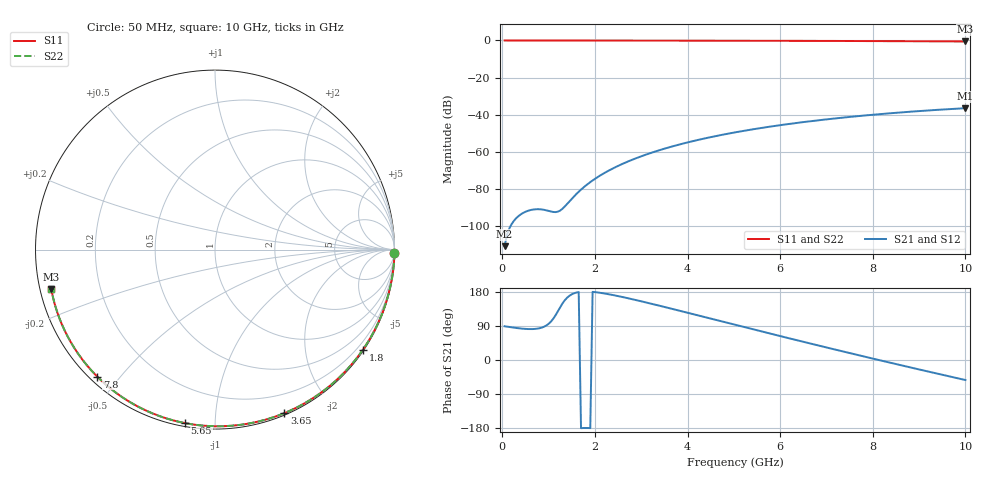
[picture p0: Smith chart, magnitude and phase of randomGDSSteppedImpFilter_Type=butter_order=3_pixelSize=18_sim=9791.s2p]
! freq	dB(S11)	phase(S11)	dB(S12)	phase(S12)
!  dB(S21)	phase(S21)	dB(S22)	phase(S22)
!S-par simulation data
#  GHz  S  DB  R 50
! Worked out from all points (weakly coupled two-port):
!   200 points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, 50 MHz to 10 GHz, reference 50 ohm
!   highest |S21| = -36.46 dB at 10 GHz (marker M1); lowest = -110.7 dB at 50 MHz (marker M2)
!   lowest |S11| = -0.6 dB at 10 GHz (marker M3), VSWR 31.43, Z = 1.61 - j5.9 ohm
!   |S11| at or under -10 dB: nowhere
!   |S22| runs from -0.6 to 0.0 dB; largest |S21 - S12| = 0
!   S11 on the Smith chart (normalised r, x): 50 MHz: open; 1.8 GHz: 0.03, -3.27; 3.65 GHz: 0.02, -1.51; 5.65 GHz: 0.02, -0.84; 7.8 GHz: 0.02, -0.44; 10 GHz: 0.03, -0.12
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0.05  -0.00 -1.0  -110.71 89.0  -110.71 89.0  -0.00 -1.0
0.45  -0.01 -8.7  -92.82 82.5  -92.82 82.5  -0.01 -8.7
0.85  -0.02 -16.3  -90.94 85.4  -90.94 85.4  -0.02 -16.3
1.25  -0.03 -23.8  -91.55 139.4  -91.55 139.4  -0.03 -23.8
1.7  -0.04 -32.2  -80.26 -179.9  -80.26 -179.9  -0.04 -32.2
1.75  -0.04 -33.1  -79.18 -179.4  -79.18 -179.4  -0.04 -33.1
1.8  -0.04 -34.0  -78.15 -179.3  -78.15 -179.3  -0.04 -34.0
1.95  -0.05 -36.8  -75.35 179.8  -75.35 179.8  -0.05 -36.8
2.1  -0.05 -39.5  -72.89 177.6  -72.89 177.6  -0.05 -39.5
2.45  -0.06 -45.9  -68.11 170.0  -68.11 170.0  -0.06 -45.9
2.9  -0.07 -53.9  -63.27 157.8  -63.27 157.8  -0.07 -53.9
3.4  -0.08 -62.7  -59.00 143.1  -59.00 143.1  -0.08 -62.7
3.65  -0.09 -67.0  -57.17 135.5  -57.17 135.5  -0.09 -67.0
4.3  -0.11 -78.0  -53.12 115.5  -53.12 115.5  -0.11 -78.0
5.05  -0.14 -90.3  -49.36 92.3  -49.36 92.3  -0.14 -90.3
5.65  -0.17 -99.9  -46.87 73.8  -46.87 73.8  -0.17 -99.9
6.15  -0.19 -107.7  -45.07 58.6  -45.07 58.6  -0.19 -107.7
6.7  -0.23 -116.1  -43.33 42.0  -43.33 42.0  -0.23 -116.1
7.8  -0.31 -132.8  -40.44 9.5  -40.44 9.5  -0.31 -132.8
8.35  -0.36 -141.1  -39.24 -6.4  -39.24 -6.4  -0.36 -141.1
9.2  -0.45 -154.0  -37.66 -30.6  -37.66 -30.6  -0.45 -154.0
10  -0.55 -166.5  -36.46 -52.8  -36.46 -52.8  -0.55 -166.5
